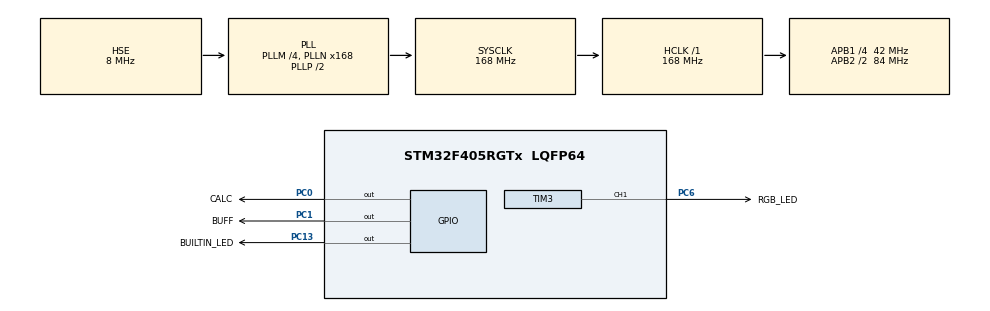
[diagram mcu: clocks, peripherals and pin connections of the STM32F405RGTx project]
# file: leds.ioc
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Dma.Request0=TIM3_CH1/TRIG
Dma.TIM3_CH1/TRIG.0.Direction=DMA_MEMORY_TO_PERIPH
Dma.TIM3_CH1/TRIG.0.FIFOMode=DMA_FIFOMODE_DISABLE
Dma.TIM3_CH1/TRIG.0.Instance=DMA1_Stream4
Dma.TIM3_CH1/TRIG.0.MemDataAlignment=DMA_MDATAALIGN_HALFWORD
Dma.TIM3_CH1/TRIG.0.MemInc=DMA_MINC_ENABLE
Dma.TIM3_CH1/TRIG.0.Mode=DMA_CIRCULAR
Dma.TIM3_CH1/TRIG.0.PeriphDataAlignment=DMA_PDATAALIGN_HALFWORD
Dma.TIM3_CH1/TRIG.0.PeriphInc=DMA_PINC_DISABLE
Dma.TIM3_CH1/TRIG.0.Priority=DMA_PRIORITY_VERY_HIGH
Mcu.Family=STM32F4
Mcu.Name=STM32F405RGTx
Mcu.Package=LQFP64
Mcu.UserConstants=LED_CNT,104
NVIC.DMA1_Stream4_IRQn=true\:0\:0\:true\:false\:true\:false\:true
NVIC.PriorityGroup=NVIC_PRIORITYGROUP_4
NVIC.TIM4_IRQn=true\:1\:0\:true\:false\:true\:true\:true
NVIC.TIM7_IRQn=true\:2\:0\:true\:false\:true\:true\:true
PA13.Mode=Serial_Wire
PA13.Signal=SYS_JTMS-SWDIO
PA14.Mode=Serial_Wire
PA14.Signal=SYS_JTCK-SWCLK
PC0.GPIO_Label=CALC
PC0.Signal=GPIO_Output
PC1.GPIO_Label=BUFF
PC1.Signal=GPIO_Output
PC13-ANTI_TAMP.GPIO_Label=BUILTIN_LED
PC13-ANTI_TAMP.PinState=GPIO_PIN_SET
PC13-ANTI_TAMP.Signal=GPIO_Output
PC6.GPIO_Label=RGB_LED
PC6.Signal=S_TIM3_CH1
PH0-OSC_IN.Mode=HSE-External-Oscillator
PH0-OSC_IN.Signal=RCC_OSC_IN
PH1-OSC_OUT.Mode=HSE-External-Oscillator
PH1-OSC_OUT.Signal=RCC_OSC_OUT
ProjectManager.HeapSize=0x400
ProjectManager.StackSize=0x800
ProjectManager.TargetToolchain=STM32CubeIDE
RCC.48MHZClocksFreq_Value=48000000
RCC.AHBFreq_Value=168000000
RCC.APB1CLKDivider=RCC_HCLK_DIV4
RCC.APB1Freq_Value=42000000
RCC.APB1TimFreq_Value=84000000
RCC.APB2CLKDivider=RCC_HCLK_DIV2
RCC.APB2Freq_Value=84000000
RCC.APB2TimFreq_Value=168000000
RCC.CortexFreq_Value=168000000
RCC.HCLKFreq_Value=168000000
RCC.HSE_Timout=200
RCC.HSE_VALUE=8000000
RCC.HSI_VALUE=16000000
RCC.LSE_VALUE=32768
RCC.PLLM=4
RCC.PLLN=168
RCC.PLLQ=7
RCC.PLLSourceVirtual=RCC_PLLSOURCE_HSE
RCC.SYSCLKFreq_VALUE=168000000
RCC.SYSCLKSource=RCC_SYSCLKSOURCE_PLLCLK
RCC.VCOOutputFreq_Value=336000000
RCC.VDD_VALUE=3.2
SH.S_TIM3_CH1.0=TIM3_CH1,PWM Generation1 CH1
STMicroelectronics.X-CUBE-ALGOBUILD.1.1.0.LibraryCcDSPOoLibraryJjDSPOoLibrary=true
TIM3.Channel-PWM\ Generation1\ CH1=TIM_CHANNEL_1
TIM3.OCFastMode_PWM-PWM\ Generation1\ CH1=TIM_OCFAST_ENABLE
TIM3.Period=LED_CNT
TIM3.TIM_MasterOutputTrigger=TIM_TRGO_UPDATE
TIM4.Period=99
TIM4.Prescaler=8399
TIM4.TIM_MasterOutputTrigger=TIM_TRGO_UPDATE
TIM7.AutoReloadPreload=TIM_AUTORELOAD_PRELOAD_ENABLE
TIM7.Period=4999
TIM7.Prescaler=8300
TIM7.TIM_MasterOutputTrigger=TIM_TRGO_UPDATE
VP_STMicroelectronics.X-CUBE-ALGOBUILD_VS_DSPOoLibraryJjLibrary_1.1.0.Mode=DSPOoLibraryJjLibrary
VP_TIM3_VS_ClockSourceINT.Mode=Internal
VP_TIM4_VS_ClockSourceINT.Mode=Internal
VP_TIM7_VS_ClockSourceINT.Mode=Enable_Timer
board=custom

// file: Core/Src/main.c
/* USER CODE BEGIN Header */
/**
  ******************************************************************************
  * @file           : main.c
  * @brief          : Main program body
  ******************************************************************************
  * @attention
  *
  * <h2><center>&copy; Copyright (c) 2020 Lars Boegild Thomsen <lbthomsen@gmail.com>.
  * All rights reserved.</center></h2>
  *
  * The stm32dev board have two built-in leds.  A regular blue led attached to
  * PC13 and a ws2812b RGB led attached to PC6.
  *
  * This demonstrate the use of both of these leds.  The regular blue LED is driven
  * by TIM7 while the value updates of the RGB led is driven by TIM4.  TIM3 is
  * clocking the 800 kHz PWM driving the ws2812.
  *
  * This software component is licensed by lbthomsen under MIT license,
  * the "License"; You may not use this file except in compliance with the
  * License. You may obtain a copy of the License at:
  *                        opensource.org/licenses/MIT
  *
  ******************************************************************************
  */
/* USER CODE END Header */
#include "main.h"

/* USER CODE BEGIN Includes */

#include <math.h>
#include <arm_math.h>

#include "ws2812b.h" // Include the ws2812b library - include directory in proj settings

/* USER CODE END Includes */

/* USER CODE BEGIN PD */

#define M_PI2 2*M_PI
#define SAMPLE_FREQ 100

#define LED_COUNT 1

/* USER CODE END PD */

TIM_HandleTypeDef htim3;
TIM_HandleTypeDef htim4;
TIM_HandleTypeDef htim7;
DMA_HandleTypeDef hdma_tim3_ch1_trig;

/* USER CODE BEGIN PV */

// Base for calculating RGB values
float led_angle[LED_CNT][3] = { 0 };
float led_velocity[LED_CNT][3] = { 0 };
uint8_t led_amplitude[LED_CNT][3] = { 0 };
//uint8_t led_offset[LED_ROWS][LED_COLS][3] = { 0 };

/* USER CODE END PV */

void SystemClock_Config(void);
static void MX_GPIO_Init(void);
static void MX_DMA_Init(void);
static void MX_TIM7_Init(void);
static void MX_TIM3_Init(void);
static void MX_TIM4_Init(void);

/* USER CODE BEGIN 0 */

// Handle built-in blue led hanging off of C13
void HAL_TIM_PeriodElapsedCallback(TIM_HandleTypeDef *htim) {

	if (htim->Instance == TIM4) {

		HAL_GPIO_WritePin(CALC_GPIO_Port, CALC_Pin, GPIO_PIN_SET);

		// Update all led values - this is quite heavy for 8*8*3 it takes around 30-40 ms
		for (uint16_t l = 0; l < LED_COUNT; l++) {

				for (uint8_t col = 0; col < 3; ++col) {

					uint8_t value = (uint8_t)(led_amplitude[l][col] - (arm_cos_f32(led_angle[l][col]) * led_amplitude[l][col]));

					setLedValue(l, col, value);

					led_angle[l][col] += led_velocity[l][col];
					if (led_angle[l][col] > M_PI2) led_angle[l][col] -= M_PI2; // Positive wrap around
					//if (led_angle[row][col][led] < M_PI2) led_angle[row][col][led] += M_PI2; // Negative wrap around

				}

		}

		HAL_GPIO_WritePin(CALC_GPIO_Port, CALC_Pin, GPIO_PIN_RESET);

	}

	if (htim->Instance == TIM7) {
		HAL_GPIO_TogglePin(BUILTIN_LED_GPIO_Port, BUILTIN_LED_Pin);
	}

}

void setLedAngle(uint8_t led, float r, float g, float b) {

	led_angle[led][RL] = r;
	led_angle[led][GL] = g;
	led_angle[led][BL] = b;

}

void setLedFreq(uint8_t led, float r, float g, float b) {

	led_velocity[led][RL] = M_PI2 / (SAMPLE_FREQ / r);
	led_velocity[led][GL] = M_PI2 / (SAMPLE_FREQ / g);
	led_velocity[led][BL] = M_PI2 / (SAMPLE_FREQ / b);

}

void setLedAmplitude(uint8_t led, uint8_t r, uint8_t g, uint8_t b) {

	led_amplitude[led][RL] = r;
	led_amplitude[led][GL] = g;
	led_amplitude[led][BL] = b;

}

/* USER CODE END 0 */

int main(void)
{

  /* MCU Configuration--------------------------------------------------------*/

  /* Reset of all peripherals, Initializes the Flash interface and the Systick. */
  HAL_Init();

  /* Configure the system clock */
  SystemClock_Config();

  /* Initialize all configured peripherals */
  MX_GPIO_Init();
  MX_DMA_Init();
  MX_TIM7_Init();
  MX_TIM3_Init();
  MX_TIM4_Init();
  /* USER CODE BEGIN 2 */

  // Start the timer to get the blue led flashing every second
  HAL_TIM_Base_Start_IT(&htim7);

  // Get the ws2812 bitstream going - this will run continously at 800 kHz
  ws2812b_init(&htim3, TIM_CHANNEL_1, LED_COUNT);

  // Start timer to cycle colors
  //HAL_TIM_Base_Start_IT(&htim4);

  //setLedAmplitude(0, 0, 120, 0, 0); // Full on it is very bright
  //setLedAngle(0, 0, 0, M_PI2 / 3, 2 * M_PI2 / 3); // Each led rotated by 120 degrees
  //setLedFreq(0, 0, 0.2, 0.201, 0.202); // Slow and out of sync

  /* USER CODE END 2 */

  /* Infinite loop */
  /* USER CODE BEGIN WHILE */

  uint32_t then = 0, now = 0;
  uint8_t lc = 0;

  while (1)
  {

	  now = HAL_GetTick();
	  if (now - then >= 50) {

		  setLedValues(0, lc, 0, 0);
		  //setLedValue(0, 0, BL, lc);

		  lc++;
		  then = now;
	  }

	// Nothing to be done here - everything runs off of timers.
	// Timer 4 controls the color changes.

    /* USER CODE END WHILE */

  }
}

void SystemClock_Config(void)
{
  RCC_OscInitTypeDef RCC_OscInitStruct = {0};
  RCC_ClkInitTypeDef RCC_ClkInitStruct = {0};

  /** Configure the main internal regulator output voltage
  */
  __HAL_RCC_PWR_CLK_ENABLE();
  __HAL_PWR_VOLTAGESCALING_CONFIG(PWR_REGULATOR_VOLTAGE_SCALE1);
  /** Initializes the RCC Oscillators according to the specified parameters
  * in the RCC_OscInitTypeDef structure.
  */
  RCC_OscInitStruct.OscillatorType = RCC_OSCILLATORTYPE_HSE;
  RCC_OscInitStruct.HSEState = RCC_HSE_ON;
  RCC_OscInitStruct.PLL.PLLState = RCC_PLL_ON;
  RCC_OscInitStruct.PLL.PLLSource = RCC_PLLSOURCE_HSE;
  RCC_OscInitStruct.PLL.PLLM = 4;
  RCC_OscInitStruct.PLL.PLLN = 168;
  RCC_OscInitStruct.PLL.PLLP = RCC_PLLP_DIV2;
  RCC_OscInitStruct.PLL.PLLQ = 7;
  if (HAL_RCC_OscConfig(&RCC_OscInitStruct) != HAL_OK)
  {
    Error_Handler();
  }
  /** Initializes the CPU, AHB and APB buses clocks
  */
  RCC_ClkInitStruct.ClockType = RCC_CLOCKTYPE_HCLK|RCC_CLOCKTYPE_SYSCLK
                              |RCC_CLOCKTYPE_PCLK1|RCC_CLOCKTYPE_PCLK2;
  RCC_ClkInitStruct.SYSCLKSource = RCC_SYSCLKSOURCE_PLLCLK;
  RCC_ClkInitStruct.AHBCLKDivider = RCC_SYSCLK_DIV1;
  RCC_ClkInitStruct.APB1CLKDivider = RCC_HCLK_DIV4;
  RCC_ClkInitStruct.APB2CLKDivider = RCC_HCLK_DIV2;

  if (HAL_RCC_ClockConfig(&RCC_ClkInitStruct, FLASH_LATENCY_5) != HAL_OK)
  {
    Error_Handler();
  }
}

static void MX_TIM3_Init(void)
{

  TIM_ClockConfigTypeDef sClockSourceConfig = {0};
  TIM_MasterConfigTypeDef sMasterConfig = {0};
  TIM_OC_InitTypeDef sConfigOC = {0};

  htim3.Instance = TIM3;
  htim3.Init.Prescaler = 0;
  htim3.Init.CounterMode = TIM_COUNTERMODE_UP;
  htim3.Init.Period = LED_CNT;
  htim3.Init.ClockDivision = TIM_CLOCKDIVISION_DIV1;
  htim3.Init.AutoReloadPreload = TIM_AUTORELOAD_PRELOAD_DISABLE;
  if (HAL_TIM_Base_Init(&htim3) != HAL_OK)
  {
    Error_Handler();
  }
  sClockSourceConfig.ClockSource = TIM_CLOCKSOURCE_INTERNAL;
  if (HAL_TIM_ConfigClockSource(&htim3, &sClockSourceConfig) != HAL_OK)
  {
    Error_Handler();
  }
  if (HAL_TIM_PWM_Init(&htim3) != HAL_OK)
  {
    Error_Handler();
  }
  sMasterConfig.MasterOutputTrigger = TIM_TRGO_UPDATE;
  sMasterConfig.MasterSlaveMode = TIM_MASTERSLAVEMODE_DISABLE;
  if (HAL_TIMEx_MasterConfigSynchronization(&htim3, &sMasterConfig) != HAL_OK)
  {
    Error_Handler();
  }
  sConfigOC.OCMode = TIM_OCMODE_PWM1;
  sConfigOC.Pulse = 0;
  sConfigOC.OCPolarity = TIM_OCPOLARITY_HIGH;
  sConfigOC.OCFastMode = TIM_OCFAST_ENABLE;
  if (HAL_TIM_PWM_ConfigChannel(&htim3, &sConfigOC, TIM_CHANNEL_1) != HAL_OK)
  {
    Error_Handler();
  }
  HAL_TIM_MspPostInit(&htim3);

}

static void MX_TIM4_Init(void)
{

  TIM_ClockConfigTypeDef sClockSourceConfig = {0};
  TIM_MasterConfigTypeDef sMasterConfig = {0};

  htim4.Instance = TIM4;
  htim4.Init.Prescaler = 8399;
  htim4.Init.CounterMode = TIM_COUNTERMODE_UP;
  htim4.Init.Period = 99;
  htim4.Init.ClockDivision = TIM_CLOCKDIVISION_DIV1;
  htim4.Init.AutoReloadPreload = TIM_AUTORELOAD_PRELOAD_DISABLE;
  if (HAL_TIM_Base_Init(&htim4) != HAL_OK)
  {
    Error_Handler();
  }
  sClockSourceConfig.ClockSource = TIM_CLOCKSOURCE_INTERNAL;
  if (HAL_TIM_ConfigClockSource(&htim4, &sClockSourceConfig) != HAL_OK)
  {
    Error_Handler();
  }
  sMasterConfig.MasterOutputTrigger = TIM_TRGO_UPDATE;
  sMasterConfig.MasterSlaveMode = TIM_MASTERSLAVEMODE_DISABLE;
  if (HAL_TIMEx_MasterConfigSynchronization(&htim4, &sMasterConfig) != HAL_OK)
  {
    Error_Handler();
  }

}

static void MX_TIM7_Init(void)
{

  TIM_MasterConfigTypeDef sMasterConfig = {0};

  htim7.Instance = TIM7;
  htim7.Init.Prescaler = 8300;
  htim7.Init.CounterMode = TIM_COUNTERMODE_UP;
  htim7.Init.Period = 4999;
  htim7.Init.AutoReloadPreload = TIM_AUTORELOAD_PRELOAD_ENABLE;
  if (HAL_TIM_Base_Init(&htim7) != HAL_OK)
  {
    Error_Handler();
  }
  sMasterConfig.MasterOutputTrigger = TIM_TRGO_UPDATE;
  sMasterConfig.MasterSlaveMode = TIM_MASTERSLAVEMODE_DISABLE;
  if (HAL_TIMEx_MasterConfigSynchronization(&htim7, &sMasterConfig) != HAL_OK)
  {
    Error_Handler();
  }

}

static void MX_DMA_Init(void)
{

  /* DMA controller clock enable */
  __HAL_RCC_DMA1_CLK_ENABLE();

  /* DMA interrupt init */
  /* DMA1_Stream4_IRQn interrupt configuration */
  HAL_NVIC_SetPriority(DMA1_Stream4_IRQn, 0, 0);
  HAL_NVIC_EnableIRQ(DMA1_Stream4_IRQn);

}

static void MX_GPIO_Init(void)
{
  GPIO_InitTypeDef GPIO_InitStruct = {0};

  /* GPIO Ports Clock Enable */
  __HAL_RCC_GPIOC_CLK_ENABLE();
  __HAL_RCC_GPIOH_CLK_ENABLE();
  __HAL_RCC_GPIOA_CLK_ENABLE();

  /*Configure GPIO pin Output Level */
  HAL_GPIO_WritePin(BUILTIN_LED_GPIO_Port, BUILTIN_LED_Pin, GPIO_PIN_SET);

  /*Configure GPIO pin Output Level */
  HAL_GPIO_WritePin(GPIOC, CALC_Pin|BUFF_Pin, GPIO_PIN_RESET);

  /*Configure GPIO pins : BUILTIN_LED_Pin CALC_Pin BUFF_Pin */
  GPIO_InitStruct.Pin = BUILTIN_LED_Pin|CALC_Pin|BUFF_Pin;
  GPIO_InitStruct.Mode = GPIO_MODE_OUTPUT_PP;
  GPIO_InitStruct.Pull = GPIO_NOPULL;
  GPIO_InitStruct.Speed = GPIO_SPEED_FREQ_LOW;
  HAL_GPIO_Init(GPIOC, &GPIO_InitStruct);

}

void Error_Handler(void)
{
}

/************************ (C) COPYRIGHT STMicroelectronics *****END OF FILE****/
